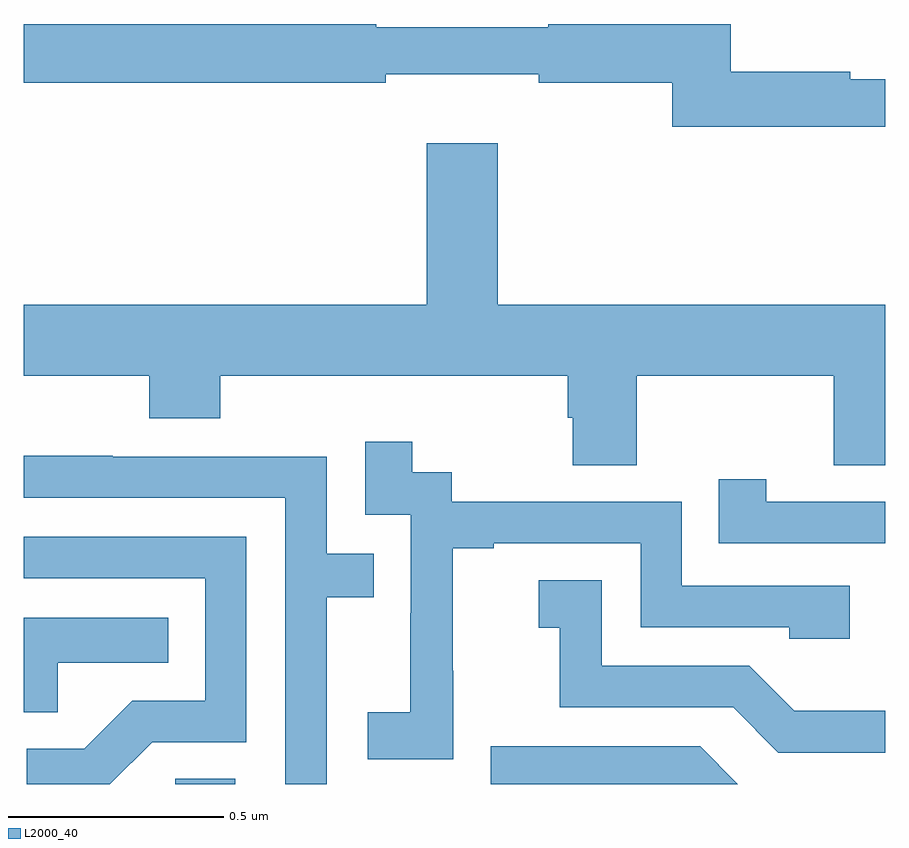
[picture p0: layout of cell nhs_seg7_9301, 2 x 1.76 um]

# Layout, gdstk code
import gdstk
lib = gdstk.Library(unit=1e-6, precision=1e-09)
def R(c, l, rs):  # rectangles x0, y0, x1, y1
    for r in rs: c.add(gdstk.rectangle(r[:2], r[2:], *l))
def P(c, l, *ps):  # polygons
    for p in ps: c.add(gdstk.Polygon(p, *l))
L2000_40 = (2000, 40)

nhs_seg7_9301 = lib.new_cell('nhs_seg7_9301')
R(nhs_seg7_9301, L2000_40, [(236.352,1001,236.491,1001.012)])
P(nhs_seg7_9301, L2000_40, [(238,1002.636),(237.918,1002.636),(237.918,1002.653),(237.641,1002.653),(237.641,1002.764),(237.218,1002.764),(237.218,1002.757),(236.818,1002.757),(236.818,1002.764),(236,1002.764),(236,1002.628),(236.84,1002.628),(236.84,1002.647),(237.196,1002.647),(237.196,1002.628),(237.505,1002.628),(237.505,1002.525),(238,1002.525)],
  [(236,1001.948),(236.291,1001.948),(236.291,1001.849),(236.456,1001.849),(236.456,1001.948),(237.263,1001.948),(237.263,1001.85),(237.275,1001.85),(237.275,1001.74),(237.423,1001.74),(237.423,1001.948),(237.88,1001.948),(237.88,1001.74),(238,1001.74),(238,1002.112),(237.1,1002.112),(237.1,1002.487),(236.936,1002.487),(236.936,1002.112),(236,1002.112)],
  [(236.997,1001.263),(236.996,1001.263),(236.996,1001.547),(237.091,1001.547),(237.091,1001.559),(237.432,1001.559),(237.432,1001.364),(237.777,1001.364),(237.777,1001.337),(237.917,1001.337),(237.917,1001.46),(237.528,1001.46),(237.528,1001.655),(236.994,1001.655),(236.994,1001.724),(236.902,1001.724),(236.902,1001.794),(236.793,1001.794),(236.793,1001.625),(236.898,1001.625),(236.898,1001.396),(236.897,1001.396),(236.897,1001.167),(236.799,1001.167),(236.799,1001.057),(236.997,1001.057)],
  [(236.703,1001.434),(236.813,1001.434),(236.813,1001.535),(236.703,1001.535),(236.703,1001.76),(236.207,1001.76),(236.207,1001.762),(236,1001.762),(236,1001.664),(236.607,1001.664),(236.607,1001),(236.703,1001)],
  [(238,1001.655),(237.724,1001.655),(237.724,1001.707),(237.613,1001.707),(237.613,1001.559),(238,1001.559)],
  [(236.298,1001.097),(236.517,1001.097),(236.517,1001.574),(236,1001.574),(236,1001.478),(236.421,1001.478),(236.421,1001.193),(236.252,1001.193),(236.141,1001.082),(236.007,1001.082),(236.007,1001),(236.2,1001)],
  [(238,1001.17),(237.788,1001.17),(237.684,1001.274),(237.342,1001.274),(237.342,1001.473),(237.195,1001.473),(237.195,1001.363),(237.244,1001.363),(237.244,1001.178),(237.647,1001.178),(237.752,1001.073),(238,1001.073)],
  [(236.079,1001.282),(236.336,1001.282),(236.336,1001.386),(236,1001.386),(236,1001.167),(236.079,1001.167)],
  [(237.57,1001.088),(237.084,1001.088),(237.084,1001),(237.658,1001)])

lib.write_gds('nhs_seg7_9301.gds')
